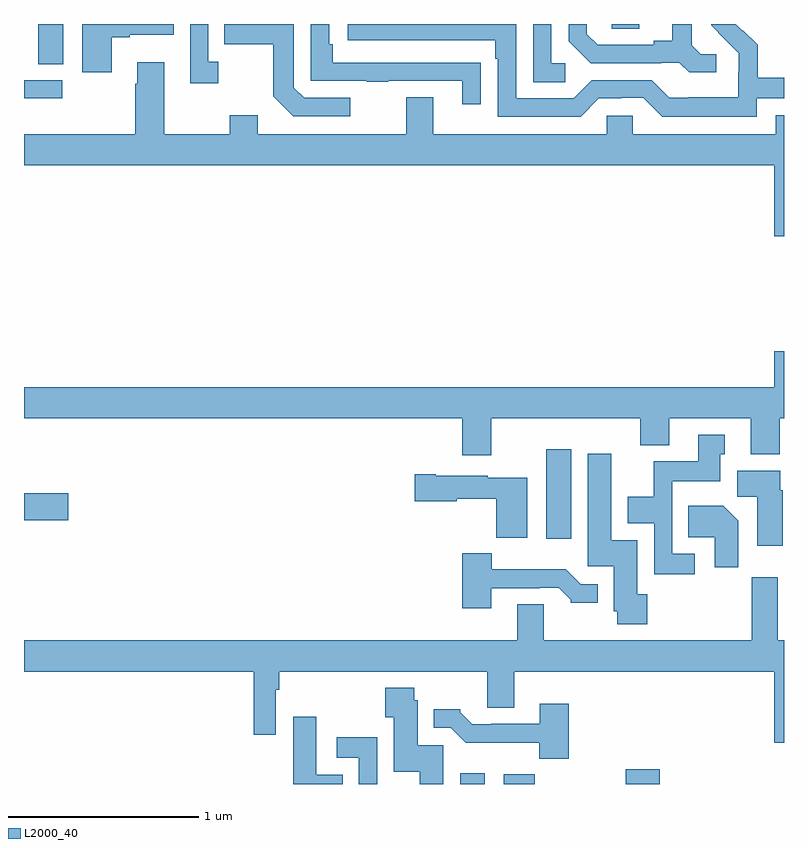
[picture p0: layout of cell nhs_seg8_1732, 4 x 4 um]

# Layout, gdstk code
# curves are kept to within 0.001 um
import gdstk
lib = gdstk.Library(unit=1e-6, precision=1e-09)
def R(c, l, rs):  # rectangles x0, y0, x1, y1
    for r in rs: c.add(gdstk.rectangle(r[:2], r[2:], *l))
def P(c, l, *ps):  # polygons
    for p in ps: c.add(gdstk.Polygon(p, *l))
L2000_40 = (2000, 40)

nhs_seg8_1732 = lib.new_cell('nhs_seg8_1732')
R(nhs_seg8_1732, L2000_40, [(223.295,1123.9,223.426,1123.957), (223.526,1123.9,223.688,1123.951), (224.167,1123.9,224.345,1123.978), (223.748,1125.192,223.879,1125.661), (221,1125.287,221.233,1125.429), (221,1127.508,221.2,1127.604), (221.075,1127.689,221.206,1127.9), (224.094,1127.875,224.239,1127.9)])
P(nhs_seg8_1732, L2000_40, [(224.644,1127.742),(224.562,1127.742),(224.515,1127.789),(224.515,1127.9),(224.411,1127.9),(224.411,1127.813),(224.315,1127.813),(224.315,1127.79),(224.02,1127.79),(223.963,1127.847),(223.963,1127.9),(223.866,1127.9),(223.866,1127.81),(223.982,1127.694),(224.354,1127.694),(224.354,1127.697),(224.448,1127.697),(224.5,1127.645),(224.644,1127.645)],
  [(222.022,1127.702),(221.97,1127.702),(221.97,1127.9),(221.874,1127.9),(221.874,1127.589),(222.022,1127.589)],
  [(222.718,1127.511),(222.474,1127.511),(222.42,1127.565),(222.42,1127.9),(222.055,1127.9),(222.055,1127.794),(222.312,1127.794),(222.312,1127.521),(222.417,1127.415),(222.718,1127.415)],
  [(223.403,1127.696),(223.301,1127.696),(223.301,1127.697),(222.626,1127.697),(222.626,1127.794),(222.606,1127.794),(222.606,1127.9),(222.51,1127.9),(222.51,1127.601),(222.805,1127.601),(222.805,1127.596),(222.917,1127.596),(222.917,1127.601),(223.307,1127.601),(223.307,1127.478),(223.403,1127.478)],
  [(224.856,1127.508),(225,1127.508),(225,1127.617),(224.861,1127.617),(224.861,1127.791),(224.784,1127.868),(224.781,1127.865),(224.746,1127.9),(224.616,1127.9),(224.616,1127.894),(224.762,1127.746),(224.762,1127.649),(224.76,1127.649),(224.76,1127.515),(224.497,1127.515),(224.497,1127.511),(224.397,1127.511),(224.304,1127.604),(223.989,1127.604),(223.893,1127.508),(223.59,1127.508),(223.59,1127.9),(222.705,1127.9),(222.705,1127.814),(223.481,1127.814),(223.481,1127.717),(223.494,1127.717),(223.494,1127.412),(223.929,1127.412),(224.025,1127.508),(224.144,1127.508),(224.144,1127.511),(224.259,1127.511),(224.359,1127.411),(224.856,1127.411)],
  [(221.461,1127.831),(221.557,1127.831),(221.557,1127.843),(221.788,1127.843),(221.788,1127.9),(221.306,1127.9),(221.306,1127.646),(221.461,1127.646)],
  [(223.849,1127.694),(223.776,1127.694),(223.776,1127.9),(223.68,1127.9),(223.68,1127.593),(223.849,1127.593)],
  [(225,1127.419),(224.957,1127.419),(224.957,1127.32),(224.205,1127.32),(224.205,1127.418),(224.067,1127.418),(224.067,1127.32),(223.153,1127.32),(223.153,1127.515),(223.013,1127.515),(223.013,1127.32),(222.229,1127.32),(222.229,1127.419),(222.082,1127.419),(222.082,1127.32),(221.737,1127.32),(221.737,1127.698),(221.597,1127.698),(221.597,1127.585),(221.585,1127.585),(221.585,1127.32),(221,1127.32),(221,1127.156),(224.948,1127.156),(224.948,1126.782),(225,1126.782)],
  [(223.459,1125.824),(224.243,1125.824),(224.243,1125.683),(224.395,1125.683),(224.395,1125.824),(224.825,1125.824),(224.825,1125.635),(224.978,1125.635),(224.978,1125.824),(225,1125.824),(225,1126.177),(224.948,1126.177),(224.948,1125.988),(221,1125.988),(221,1125.824),(223.307,1125.824),(223.307,1125.63),(223.459,1125.63)],
  [(224.53,1125.111),(224.412,1125.111),(224.412,1125.494),(224.665,1125.494),(224.665,1125.636),(224.689,1125.636),(224.689,1125.739),(224.549,1125.739),(224.549,1125.598),(224.314,1125.598),(224.314,1125.412),(224.177,1125.412),(224.177,1125.272),(224.316,1125.272),(224.316,1125.003),(224.53,1125.003)],
  [(224.279,1124.898),(224.227,1124.898),(224.227,1125.184),(224.092,1125.184),(224.092,1125.637),(223.967,1125.637),(223.967,1125.045),(224.105,1125.045),(224.105,1124.808),(224.122,1124.808),(224.122,1124.742),(224.279,1124.742)],
  [(224.993,1125.446),(224.98,1125.446),(224.98,1125.55),(224.753,1125.55),(224.753,1125.412),(224.858,1125.412),(224.858,1125.153),(224.993,1125.153)],
  [(223.648,1125.511),(223.44,1125.511),(223.44,1125.523),(223.168,1125.523),(223.168,1125.531),(223.056,1125.531),(223.056,1125.389),(223.278,1125.389),(223.278,1125.401),(223.486,1125.401),(223.486,1125.197),(223.648,1125.197)],
  [(224.758,1125.286),(224.68,1125.364),(224.497,1125.364),(224.497,1125.2),(224.636,1125.2),(224.636,1125.042),(224.758,1125.042)],
  [(223.459,1124.931),(223.715,1124.931),(223.715,1124.934),(223.814,1124.934),(223.878,1124.87),(223.878,1124.855),(224.02,1124.855),(224.02,1124.952),(223.929,1124.952),(223.851,1125.031),(223.462,1125.031),(223.462,1125.115),(223.307,1125.115),(223.307,1124.826),(223.459,1124.826)],
  [(225,1124.656),(224.966,1124.656),(224.966,1124.989),(224.83,1124.989),(224.83,1124.656),(223.735,1124.656),(223.735,1124.846),(223.595,1124.846),(223.595,1124.656),(221,1124.656),(221,1124.492),(222.208,1124.492),(222.208,1124.16),(222.324,1124.16),(222.324,1124.396),(222.344,1124.396),(222.344,1124.492),(223.439,1124.492),(223.439,1124.302),(223.579,1124.302),(223.579,1124.492),(224.948,1124.492),(224.948,1124.118),(225,1124.118)],
  [(223.207,1124.103),(223.072,1124.103),(223.072,1124.34),(223.053,1124.34),(223.053,1124.407),(222.901,1124.407),(222.901,1124.251),(222.947,1124.251),(222.947,1123.964),(223.082,1123.964),(223.082,1123.9),(223.207,1123.9)],
  [(223.868,1124.323),(223.715,1124.323),(223.715,1124.217),(223.459,1124.217),(223.459,1124.214),(223.36,1124.214),(223.296,1124.278),(223.296,1124.293),(223.157,1124.293),(223.157,1124.196),(223.245,1124.196),(223.324,1124.118),(223.713,1124.118),(223.713,1124.033),(223.868,1124.033)],
  [(222.677,1123.948),(222.538,1123.948),(222.538,1124.254),(222.416,1124.254),(222.416,1123.9),(222.677,1123.9)],
  [(222.858,1124.146),(222.645,1124.146),(222.645,1124.037),(222.762,1124.037),(222.762,1123.9),(222.858,1123.9)])

lib.write_gds('nhs_seg8_1732.gds')
